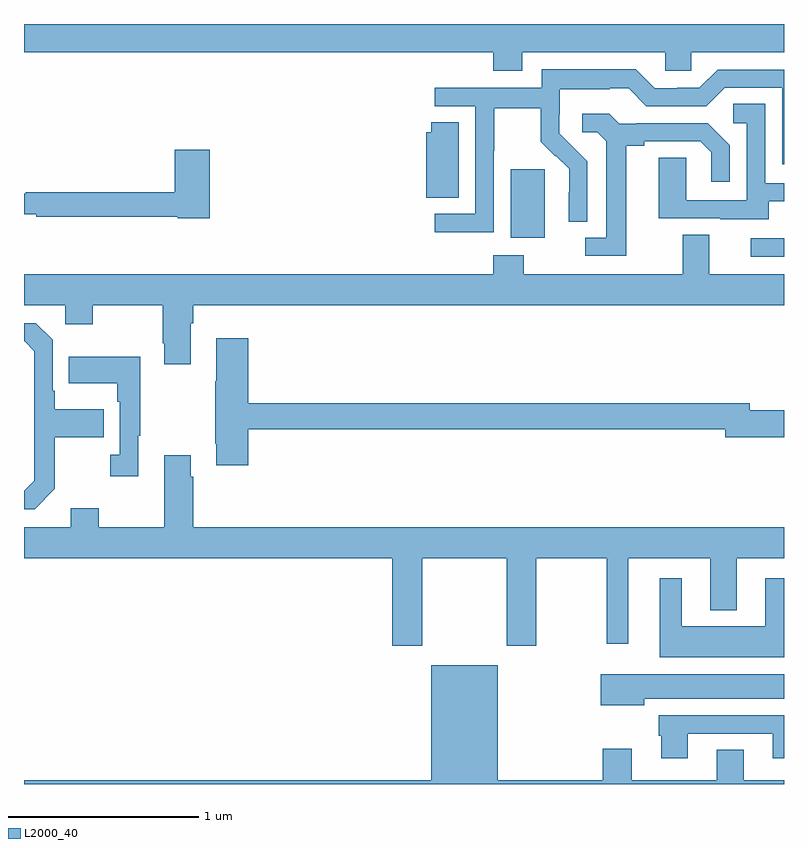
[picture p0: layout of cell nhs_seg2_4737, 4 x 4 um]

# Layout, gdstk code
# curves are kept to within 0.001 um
import gdstk
lib = gdstk.Library(unit=1e-6, precision=1e-09)
def R(c, l, rs):  # rectangles x0, y0, x1, y1
    for r in rs: c.add(gdstk.rectangle(r[:2], r[2:], *l))
def P(c, l, *ps):  # polygons
    for p in ps: c.add(gdstk.Polygon(p, *l))
L2000_40 = (2000, 40)

nhs_seg2_4737 = lib.new_cell('nhs_seg2_4737')
R(nhs_seg2_4737, L2000_40, [(372.825,630.576,373,630.672), (371.561,630.674,371.74,631.035)])
P(nhs_seg2_4737, L2000_40, [(373,631.8),(369,631.8),(369,631.652),(371.471,631.652),(371.471,631.553),(371.623,631.553),(371.623,631.652),(372.375,631.652),(372.375,631.554),(372.513,631.554),(372.513,631.652),(373,631.652)],
  [(371.472,631.132),(371.475,631.132),(371.475,631.356),(371.719,631.356),(371.719,631.181),(371.796,631.104),(371.799,631.107),(371.87,631.037),(371.87,630.914),(371.868,630.914),(371.868,630.76),(371.964,630.76),(371.964,631.078),(371.818,631.226),(371.818,631.323),(371.82,631.323),(371.82,631.457),(372.083,631.457),(372.083,631.461),(372.183,631.461),(372.276,631.368),(372.591,631.368),(372.687,631.464),(372.99,631.464),(372.99,631.062),(373,631.062),(373,631.56),(372.651,631.56),(372.555,631.464),(372.437,631.464),(372.437,631.461),(372.321,631.461),(372.221,631.561),(371.724,631.561),(371.724,631.464),(371.163,631.464),(371.163,631.368),(371.376,631.368),(371.376,630.801),(371.163,630.801),(371.163,630.703),(371.472,630.703)],
  [(372.919,630.867),(373,630.867),(373,630.963),(372.9,630.963),(372.9,631.379),(372.732,631.379),(372.732,631.278),(372.804,631.278),(372.804,630.873),(372.486,630.873),(372.486,631.097),(372.341,631.097),(372.341,630.777),(372.665,630.777),(372.665,630.773),(372.919,630.773)],
  [(372.169,631.16),(372.265,631.16),(372.265,631.182),(372.56,631.182),(372.617,631.125),(372.617,630.969),(372.714,630.969),(372.714,631.162),(372.598,631.278),(372.226,631.278),(372.226,631.275),(372.132,631.275),(372.08,631.327),(371.937,631.327),(371.937,631.23),(372.018,631.23),(372.065,631.183),(372.065,630.675),(371.955,630.675),(371.955,630.579),(372.169,630.579)],
  [(371.287,631.283),(371.144,631.283),(371.144,631.23),(371.117,631.23),(371.117,630.886),(371.287,630.886)],
  [(369.977,631.138),(369.794,631.138),(369.794,630.914),(369.01,630.914),(369.01,630.907),(369,630.907),(369,630.798),(369.064,630.798),(369.064,630.786),(369.81,630.786),(369.81,630.778),(369.977,630.778)],
  [(369,630.32),(369.216,630.32),(369.216,630.221),(369.363,630.221),(369.363,630.32),(369.73,630.32),(369.73,630.121),(369.737,630.121),(369.737,630.009),(369.877,630.009),(369.877,630.224),(369.89,630.224),(369.89,630.32),(373,630.32),(373,630.484),(372.607,630.484),(372.607,630.692),(372.467,630.692),(372.467,630.484),(371.631,630.484),(371.631,630.583),(371.471,630.583),(371.471,630.484),(369,630.484)],
  [(369.163,629.353),(369.163,629.626),(369.419,629.626),(369.419,629.773),(369.163,629.773),(369.163,629.869),(369.15,629.869),(369.15,630.138),(369.063,630.225),(369,630.225),(369,630.129),(369.003,630.129),(369.054,630.078),(369.054,629.397),(369,629.343),(369,629.247),(369.057,629.247)],
  [(370.181,629.668),(372.692,629.668),(372.692,629.626),(373,629.626),(373,629.768),(372.82,629.768),(372.82,629.804),(370.181,629.804),(370.181,630.145),(370.013,630.145),(370.013,629.921),(370.006,629.921),(370.006,629.59),(370.013,629.59),(370.013,629.478),(370.181,629.478)],
  [(369.601,629.633),(369.613,629.633),(369.613,630.049),(369.235,630.049),(369.235,629.909),(369.492,629.909),(369.492,629.813),(369.504,629.813),(369.504,629.534),(369.453,629.534),(369.453,629.421),(369.601,629.421)],
  [(371.097,628.988),(371.542,628.988),(371.542,628.527),(371.697,628.527),(371.697,628.988),(372.067,628.988),(372.067,628.539),(372.181,628.539),(372.181,628.988),(372.611,628.988),(372.611,628.715),(372.751,628.715),(372.751,628.988),(373,628.988),(373,629.152),(369.89,629.152),(369.89,629.417),(369.877,629.417),(369.877,629.53),(369.737,629.53),(369.737,629.152),(369.393,629.152),(369.393,629.251),(369.245,629.251),(369.245,629.152),(369,629.152),(369,628.988),(370.937,628.988),(370.937,628.527),(371.097,628.527)],
  [(373,628.882),(372.902,628.882),(372.902,628.63),(372.463,628.63),(372.463,628.882),(372.347,628.882),(372.347,628.466),(373,628.466)],
  [(373,627.82),(372.787,627.82),(372.787,627.98),(372.647,627.98),(372.647,627.82),(372.199,627.82),(372.199,627.985),(372.047,627.985),(372.047,627.82),(371.494,627.82),(371.494,628.426),(371.144,628.426),(371.144,627.82),(369,627.82),(369,627.8),(373,627.8)],
  [(372.265,628.25),(373,628.25),(373,628.378),(372.036,628.378),(372.036,628.214),(372.265,628.214)],
  [(372.493,628.065),(372.941,628.065),(372.941,627.936),(373,627.936),(373,628.161),(372.341,628.161),(372.341,628.053),(372.353,628.053),(372.353,627.936),(372.493,627.936)])

lib.write_gds('nhs_seg2_4737.gds')
